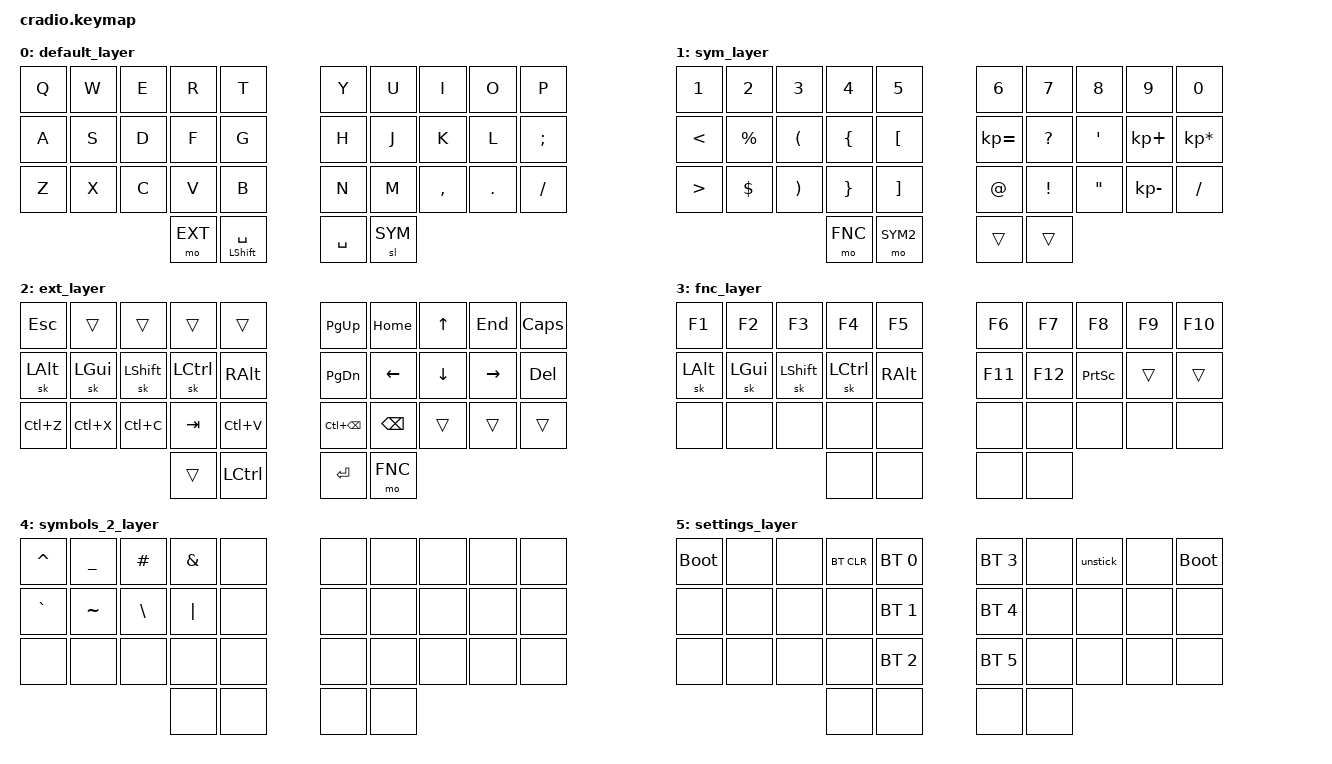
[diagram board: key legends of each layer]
/*
 * Copyright (c) 2020 The ZMK Contributors
 *
 * SPDX-License-Identifier: MIT
 */

#include <behaviors.dtsi>
#include <dt-bindings/zmk/keys.h>
#include <dt-bindings/zmk/bt.h>

// Layer definitions
    #define BASE 0
    #define SYM 1
    #define EXT 2
    #define FNC 3
    #define SYM2 4
		#define SETTINGS 5
// -----------------

&mt {
   //  flavor = "tap-preferred";
   // tapping_term_ms = <200>;
};

&sk {
    ignore-modifiers;
};

/ {
		macros {
				// sometimes my device thinks a modifier is being held down
				// pressing all modifiers fixes it.
				unstick: unstick {
					label = "ZM_unstick";
					compatible = "zmk,behavior-macro";
					#binding-cells = <0>;
					bindings
						= <&kp LSHIFT &kp RSHIFT &kp LCTRL &kp RCTRL &kp LALT &kp RALT &kp LGUI &kp RGUI>;
				};
		};

    combos {
        compatible = "zmk,combos";
				// internal-left & external-right thumb keys
				combo_sym2 {
						timeout-ms = <200>;
						key-positions = <31 33>;
						bindings = <&mo SYM2>;
				};
				// both left thumb keys
				combo_settings {
						timeout-ms = <300>;
						key-positions = <30 31>;
						bindings = <&mo SETTINGS>;
				};
    };

    keymap {
            compatible = "zmk,keymap";

        // Base alpha layer
       		default_layer {
		bindings = <
		&kp Q &kp W &kp E &kp R &kp T           &kp Y &kp U  &kp I     &kp O   &kp P 
		&kp A &kp S &kp D &kp F &kp G           &kp H &kp J  &kp K     &kp L   &kp SEMI
		&kp Z &kp X &kp C &kp V &kp B           &kp N &kp M  &kp COMMA &kp DOT &kp FSLH
             &mo EXT &mt LSHIFT SPACE           &kp SPACE &sl SYM
		>;
		};

        // Numbers and high frequency symbols
       		sym_layer {
		bindings = <
		&kp N1 &kp N2    &kp N3   &kp N4   &kp N5		          &kp N6       &kp N7    &kp N8  &kp N9       &kp N0
		&kp LT &kp PRCNT &kp LPAR &kp LBRC &kp LBKT           &kp KP_EQUAL &kp QMARK &kp SQT &kp KP_PLUS  &kp KP_ASTERISK
		&kp GT &kp DLLR  &kp RPAR &kp RBRC &kp RBKT 	        &kp AT       &kp EXCL  &kp DQT &kp KP_MINUS &kp FSLH
					                    &mo FNC  &mo SYM2           &trans       &trans
		>;
		};

        // Main modifiers and arrow keys
		    ext_layer {
		bindings = <
		&kp ESC  &trans &trans  &trans  &trans    			        &kp PG_UP  &kp HOME &kp UP &kp END &kp CAPS
		&sk LALT &sk LGUI  &sk LSHIFT  &sk LCTRL  &kp RALT 			&kp PG_DN &kp LEFT  &kp DOWN  &kp RIGHT   &kp DEL
		&kp LC(Z)  &kp LC(X) &kp LC(C) &kp TAB   &kp LC(V)          &kp LC(BSPC) &kp BSPC &trans &trans  &trans
					                        &trans &kp LCTRL    &kp ENTER  &mo FNC 
		>;
		};

        // Function keys with modifiers
       		fnc_layer {
		bindings = <
		&kp F1 &kp F2 &kp F3 &kp F4 &kp F5                  &kp F6 &kp F7 &kp F8 &kp F9 &kp F10 
		&sk LALT &sk LGUI &sk LSHIFT &sk LCTRL &kp RALT     &kp F11 &kp F12  &kp PRINTSCREEN &trans &trans
		&none &none &none &none &none				          &none &none &none &none &none 
          				           &none &none              &none &none  
		>;
		};

        // Low frequency symbols.
       		symbols_2_layer {
		bindings = <
		&kp CARET &kp UNDER &kp HASH &kp AMPS &none             &none &none &none &none &none 
		&kp GRAVE &kp TILDE &kp BSLH &kp PIPE &none             &none &none &none &none &none
		&none 		&none   	&none    &none    &none     				&none &none &none &none &none
          				           		 &none    &none        	    &none &none 
		>;
		};


        // Used to change the keyboard's settings.
       		settings_layer {
		bindings = <
		&bootloader &none &none &bt BT_CLR &bt BT_SEL 0               &bt BT_SEL 3 &none &unstick &none &bootloader 
		&none &none &none &none      &bt BT_SEL 1 						  &bt BT_SEL 4 &none &none &none &none
		&none &none &none &none      &bt BT_SEL 2               &bt BT_SEL 5 &none &none &none &none
          				     &none &none                         &none &none 
		>;
		};
        
	};
};

